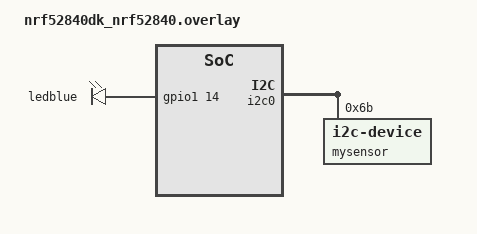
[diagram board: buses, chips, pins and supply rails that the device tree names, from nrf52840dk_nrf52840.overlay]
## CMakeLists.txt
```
# SPDX-License-Identifier: Apache-2.0

cmake_minimum_required(VERSION 3.20.0)

find_package(Zephyr REQUIRED HINTS $ENV{ZEPHYR_BASE})
project(hello_world)

target_sources(app PRIVATE  src/main.c
                            src/pin_manager.c
                            src/uart0.c
                            src/ism330dhcx_reg.c
                            src/ism330.c       
)
```

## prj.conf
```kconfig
# nothing here


# Enable the UART driver
CONFIG_UART_ASYNC_API=y
CONFIG_NRFX_UARTE0=y
#CONFIG_NRFX_UARTE1=y
CONFIG_SERIAL=y
CONFIG_GPIO=y
CONFIG_I2C=y
CONFIG_CBPRINTF_FP_SUPPORT=y
```

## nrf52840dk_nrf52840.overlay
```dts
// To get started, press Ctrl+Space to bring up the completion menu and view the available nodes.

// You can also use the buttons in the sidebar to perform actions on nodes.
// Actions currently available include:

// * Enabling / disabling the node
// * Adding the bus to a bus
// * Removing the node
// * Connecting ADC channels

// For more help, browse the DeviceTree documentation at https://docs.zephyrproject.org/latest/guides/dts/index.html
// You can also visit the nRF DeviceTree extension documentation at https://nrfconnect.github.io/vscode-nrf-connect/devicetree/nrfdevicetree.html

/ {
	leds {
		ledblue {
			gpios = <&gpio1 14 0>;
		};
	};
};


/ {
	aliases {
		ledblue = &{/leds/ledblue/};       		
	};
};

&uart0_default {
	group2 {
		psels = <NRF_PSEL(UART_CTS, 0, 7)>, <NRF_PSEL(UART_RX, 0, 24)>;
        bias-pull-up;
	};
};

&uart0_default {
	group1 {
		psels = <NRF_PSEL(UART_TX, 0, 25)>, <NRF_PSEL(UART_RTS, 0, 5)>;
	};
};


&i2c0_default {
	group1 {
		psels = <NRF_PSEL(TWIM_SDA, 0, 6)>, <NRF_PSEL(TWIM_SCL, 0, 26)>;
	};
};

&i2c0 {  
    mysensor: mysensor@6B{
        compatible = "i2c-device";
        status = "okay";
        reg = < 0x6B >;
    };
};
```

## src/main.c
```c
/*
 * Copyright (c) 2012-2014 Wind River Systems, Inc.
 *
 * SPDX-License-Identifier: Apache-2.0
 */

#include <zephyr/kernel.h>
#include <zephyr/device.h>
#include <zephyr/devicetree.h>
#include <zephyr/drivers/gpio.h>
#include <zephyr/sys/printk.h>
#include <zephyr/drivers/uart.h>
#include <zephyr/drivers/i2c.h>
#include "pin_manager.h"
#include "uart0.h"
#include "ism330.h"

#define SLEEP_TIME   500

void main(void)
{	
	int ret;

	PIN_MANAGER_Initialize();
	UART0_Initialize();	
	ISM_Initialize();

	uint8_t option;
	option = 'a';

	LEDBLUE_SetHigh();
	k_msleep(SLEEP_TIME);
	LEDBLUE_SetLow();	

	printk("Sparkfun Hello %s\n", CONFIG_BOARD);

	while (1) {
		uint8_t reg;

		    /* Read output only if new xl value is available */
		 switch (rx_character) {
		 	 	 	 case 'a':
					 	printRawAccel();					 
		 	 	 		break;
		 	 	 	 case 'g':
					 	printRawAng();
					 	break;
		 	 	 	 default: 	break;
		 }

		 k_msleep(SLEEP_MS);
		
	}

}
```

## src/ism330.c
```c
#include "ism330.h"

int16_t data_raw_acceleration[3];
int16_t data_raw_angular_rate[3];
//static int16_t data_raw_temperature;
float acceleration_mg[3];
float angular_rate_mdps[3];
//static float temperature_degC;
uint8_t whoamI, rst;
//static uint8_t tx_buffer[1000];

stmdev_ctx_t dev_ctx;

int32_t platform_write(void *handle, uint8_t reg, const uint8_t *bufp,
                              uint16_t len)
{
#if defined(NUCLEO_F411RE)
  HAL_I2C_Mem_Write(handle, ISM330DHCX_I2C_ADD_H, reg,
                    I2C_MEMADD_SIZE_8BIT, (uint8_t*) bufp, len, 1000);
#elif defined(STEVAL_MKI109V3)
  HAL_GPIO_WritePin(CS_up_GPIO_Port, CS_up_Pin, GPIO_PIN_RESET);
  HAL_SPI_Transmit(handle, &reg, 1, 1000);
  HAL_SPI_Transmit(handle, (uint8_t*) bufp, len, 1000);
  HAL_GPIO_WritePin(CS_up_GPIO_Port, CS_up_Pin, GPIO_PIN_SET);
#elif defined(SPC584B_DIS)
  i2c_lld_write(handle,  ISM330DHCX_I2C_ADD_H & 0xFE, reg,
               (uint8_t*) bufp, len);
#endif

	uint8_t buffer[16];
	uint8_t i,aux;
	int32_t ret; 

	buffer[0] = reg;

	aux = 1;
	for (i = 0; i < len; i++) {
		buffer[aux] = bufp[i];
		aux++;
	}
	//SPI_transaction(buffer, aux);

	ret = i2c_write_dt(&dev_i2c, buffer, aux);

	return 0;
}

/*
 * @brief  Read generic device register (platform dependent)
 *
 * @param  handle    customizable argument. In this examples is used in
 *                   order to select the correct sensor bus handler.
 * @param  reg       register to read
 * @param  bufp      pointer to buffer that store the data read
 * @param  len       number of consecutive register to read
 *
 */
int32_t platform_read(void *handle, uint8_t reg, uint8_t *bufp,
                             uint16_t len)
{
#if defined(NUCLEO_F411RE)
  HAL_I2C_Mem_Read(handle, ISM330DHCX_I2C_ADD_H, reg,
                   I2C_MEMADD_SIZE_8BIT, bufp, len, 1000);
#elif defined(STEVAL_MKI109V3)
  reg |= 0x80;
  HAL_GPIO_WritePin(CS_up_GPIO_Port, CS_up_Pin, GPIO_PIN_RESET);
  HAL_SPI_Transmit(handle, &reg, 1, 1000);
  HAL_SPI_Receive(handle, bufp, len, 1000);
  HAL_GPIO_WritePin(CS_up_GPIO_Port, CS_up_Pin, GPIO_PIN_SET);
#elif defined(SPC584B_DIS)
  i2c_lld_read(handle, ISM330DHCX_I2C_ADD_H & 0xFE, reg, bufp, len);
#endif

	uint8_t buffer[16];
	uint8_t i,aux;
	uint32_t ret;

	//uint8_t reading[1]= {0};
    uint8_t sensor_regs[1];
	
	sensor_regs[0] = reg;
	ret = i2c_write_read_dt(&dev_i2c,&sensor_regs[0],1,bufp,len);

	return 0;
}

int ISM_Initialize(void)
{
 	
	//printk("I2C Accel Tests\n");

	if (!device_is_ready(dev_i2c.bus)) {
		printk("I2C bus %s is not ready!\n\r",dev_i2c.bus->name);		
    return 0;
	}


	  /* Initialize mems driver interface */
	dev_ctx.write_reg = platform_write;
	dev_ctx.read_reg = platform_read;

	k_msleep(SLEEP_MS);

	/* Check device ID */
	ism330dhcx_device_id_get(&dev_ctx, &whoamI);
	printk("ISM whoiam %x\n", whoamI);

  /* Restore default configuration */
  ism330dhcx_reset_set(&dev_ctx, PROPERTY_ENABLE);
  do {
    ism330dhcx_reset_get(&dev_ctx, &rst);
    printk("ISM resetting dev %x\n", rst);
  } while (rst);

  /* Start device configuration. */
  ism330dhcx_device_conf_set(&dev_ctx, PROPERTY_ENABLE);
  
  /* Enable Block Data Update */
  ism330dhcx_block_data_update_set(&dev_ctx, PROPERTY_ENABLE);

  /* Set Output Data Rate */
  ism330dhcx_xl_data_rate_set(&dev_ctx, ISM330DHCX_XL_ODR_104Hz);
  ism330dhcx_gy_data_rate_set(&dev_ctx, ISM330DHCX_GY_ODR_104Hz);

  /* Set full scale */
  ism330dhcx_xl_full_scale_set(&dev_ctx, ISM330DHCX_2g);
  ism330dhcx_gy_full_scale_set(&dev_ctx, ISM330DHCX_2000dps);

  /* Configure filtering chain(No aux interface)
  *
  * Accelerometer - LPF1 + LPF2 path
  */
  ism330dhcx_xl_hp_path_on_out_set(&dev_ctx, ISM330DHCX_LP_ODR_DIV_100);
  ism330dhcx_xl_filter_lp2_set(&dev_ctx, PROPERTY_ENABLE);

  //ism330dhcx_g
  ism330dhcx_gy_lp1_bandwidth_set(&dev_ctx, ISM330DHCX_MEDIUM);
  ism330dhcx_gy_filter_lp1_set(&dev_ctx, PROPERTY_ENABLE);

}

void printRawAccel(void)
{
  uint8_t reg;

	ism330dhcx_xl_flag_data_ready_get(&dev_ctx, &reg);

	if (reg) {
    // Read acceleration field data
	  memset(data_raw_acceleration, 0x00, 3 * sizeof(int16_t));
	  ism330dhcx_acceleration_raw_get(&dev_ctx, data_raw_acceleration);
	  acceleration_mg[0] = ism330dhcx_from_fs2g_to_mg(data_raw_acceleration[0]);
	  acceleration_mg[1] = ism330dhcx_from_fs2g_to_mg(data_raw_acceleration[1]);
	  acceleration_mg[2] = ism330dhcx_from_fs2g_to_mg(data_raw_acceleration[2]);
	  //sprintf((char *)tx_buffer,"Acceleration [mg]:%4.2f\t%4.2f\t%4.2f\r\n", acceleration_mg[0], acceleration_mg[1], acceleration_mg[2]);
	  printf("Accel [mg]:%4.2f\t%4.2f\t%4.2f\r\n", acceleration_mg[0], acceleration_mg[1], acceleration_mg[2]);
	  //printf("Accel z [mg]:%4.2f\n", (acceleration_mg[2]+119));
  }

}

void printRawAng(void)
{
  uint8_t reg;

  ism330dhcx_gy_flag_data_ready_get(&dev_ctx, &reg);

	if (reg) {
    // Read angular rate field data
		memset(data_raw_angular_rate, 0x00, 3 * sizeof(int16_t));
		ism330dhcx_angular_rate_raw_get(&dev_ctx, data_raw_angular_rate);
		angular_rate_mdps[0] = ism330dhcx_from_fs2000dps_to_mdps(data_raw_angular_rate[0]);
		angular_rate_mdps[1] = ism330dhcx_from_fs2000dps_to_mdps(data_raw_angular_rate[1]);
		angular_rate_mdps[2] = ism330dhcx_from_fs2000dps_to_mdps(data_raw_angular_rate[2]);
		//printf("Angrate [mdps]:%4.2f\t%4.2f\t%4.2f\r\n", angular_rate_mdps[0], angular_rate_mdps[1], angular_rate_mdps[2]);
    //printf("Angrate [mdps]:%6.0f\t%6.0f\t%6.0f\r\n", angular_rate_mdps[0], angular_rate_mdps[1], angular_rate_mdps[2]);
    printf("Angrate [dps]:%3.1f\t%3.1f\t%3.1f\r\n", angular_rate_mdps[0]/1000, angular_rate_mdps[1]/1000, angular_rate_mdps[2]/1000);
  }

}
```

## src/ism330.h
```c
#ifndef ISM330_H
#define ISM330_H

#include <zephyr/drivers/i2c.h>
#include "ism330dhcx_reg.h"

/* Private variables ---------------------------------------------------------*/
extern int16_t data_raw_acceleration[3];
extern int16_t data_raw_angular_rate[3];
//static int16_t data_raw_temperature;
extern float acceleration_mg[3];
extern float angular_rate_mdps[3];
//static float temperature_degC;
extern uint8_t whoamI, rst;
//static uint8_t tx_buffer[1000];

#define SLEEP_MS 50

extern stmdev_ctx_t dev_ctx;

int32_t platform_write(void *handle, uint8_t reg, const uint8_t *bufp, uint16_t len);
int32_t platform_read(void *handle, uint8_t reg, uint8_t *bufp, uint16_t len);

int ISM_Initialize(void);
void printRawAccel(void);
void printRawAng(void);

#define I2C0_NODE DT_NODELABEL(mysensor)
static const struct i2c_dt_spec dev_i2c = I2C_DT_SPEC_GET(I2C0_NODE);

#endif
```

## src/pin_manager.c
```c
#include "pin_manager.h"

//static struct gpio_dt_spec led = GPIO_DT_SPEC_GET(LEDBLUE_NODE, gpios);

void PIN_MANAGER_Initialize (void)
{
    int ret;

    /* Configure LEDBLUE */
	if (!device_is_ready(led.port)) {
		return;
	}

	ret = gpio_pin_configure_dt(&led, GPIO_OUTPUT_ACTIVE);
	if (ret < 0) {
		return;
	}
}
```

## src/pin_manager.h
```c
#ifndef PIN_MANAGER_H
#define PIN_MANAGER_H

#include <zephyr/kernel.h>
#include <zephyr/device.h>
#include <zephyr/devicetree.h>
#include <zephyr/drivers/gpio.h>

//LEDBLUE 
#define LEDBLUE_NODE DT_ALIAS(ledblue)
static const struct gpio_dt_spec led = GPIO_DT_SPEC_GET(LEDBLUE_NODE, gpios);

#define LEDBLUE_SetHigh()   gpio_pin_set_dt(&led,1)
#define LEDBLUE_SetLow()    gpio_pin_set_dt(&led,0)
#define LEDBLUE_Toggle()    gpio_pin_toggle_dt(&led);

void PIN_MANAGER_Initialize (void);

#endif
```

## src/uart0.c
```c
#include "uart0.h"
#include "pin_manager.h"

//Get the device pointer of the UART hardware 

uint8_t tx_buf[TX_SIZE];
uint8_t rx_buf[RX_SIZE];
uint8_t rx_character = 0;

int UART0_Initialize(void)
{
    int ret;

    // Verify that the UART device is ready 
	if (!device_is_ready(uart)){
		printk("UART device not ready\r\n");
		return 0;
	}

	// Register the UART callback function 
	ret = uart_callback_set(uart, uart_cb, NULL);
	if (ret) {
		return 0;
	}

	// Start receiving by calling uart_rx_enable() and pass it the address of the receive  buffer
	ret = uart_rx_enable(uart ,rx_buf,sizeof rx_buf,RECEIVE_TIMEOUT);
	if (ret) {
		return 0;
	}

    return 1;
}

void uart_cb(const struct device *dev, struct uart_event *evt, void *user_data)
{
	switch (evt->type) {

	case UART_RX_RDY:
		if((evt->data.rx.len) == 1){
			rx_character = evt->data.rx.buf[evt->data.rx.offset];
		}
		break;
	case UART_RX_DISABLED:
		uart_rx_enable(dev ,rx_buf,sizeof rx_buf,RECEIVE_TIMEOUT);
		break;
		
	default:
		break;
	}
}
```

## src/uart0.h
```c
#ifndef UART0_H
#define UART0_H

#include <zephyr/device.h>
#include <zephyr/devicetree.h>
#include <zephyr/drivers/uart.h>

#define TX_SIZE 16
#define RX_SIZE 16
#define RECEIVE_TIMEOUT 100

//Get the device pointer of the UART hardware 
static const struct device *uart= DEVICE_DT_GET(DT_NODELABEL(uart0));

// Define the transmission buffer
extern uint8_t tx_buf[TX_SIZE];

//Define the receive buffer
extern uint8_t rx_buf[RX_SIZE];

extern uint8_t rx_character;

int UART0_Initialize(void);
void uart_cb(const struct device *dev, struct uart_event *evt, void *user_data);

/*TODO: Add a tx function
 a tx call through the API is done by: 
    uart_tx(uart,tx_buf,sizeof(tx_buf),SYS_FOREVER_MS);
 */

#endif
```
